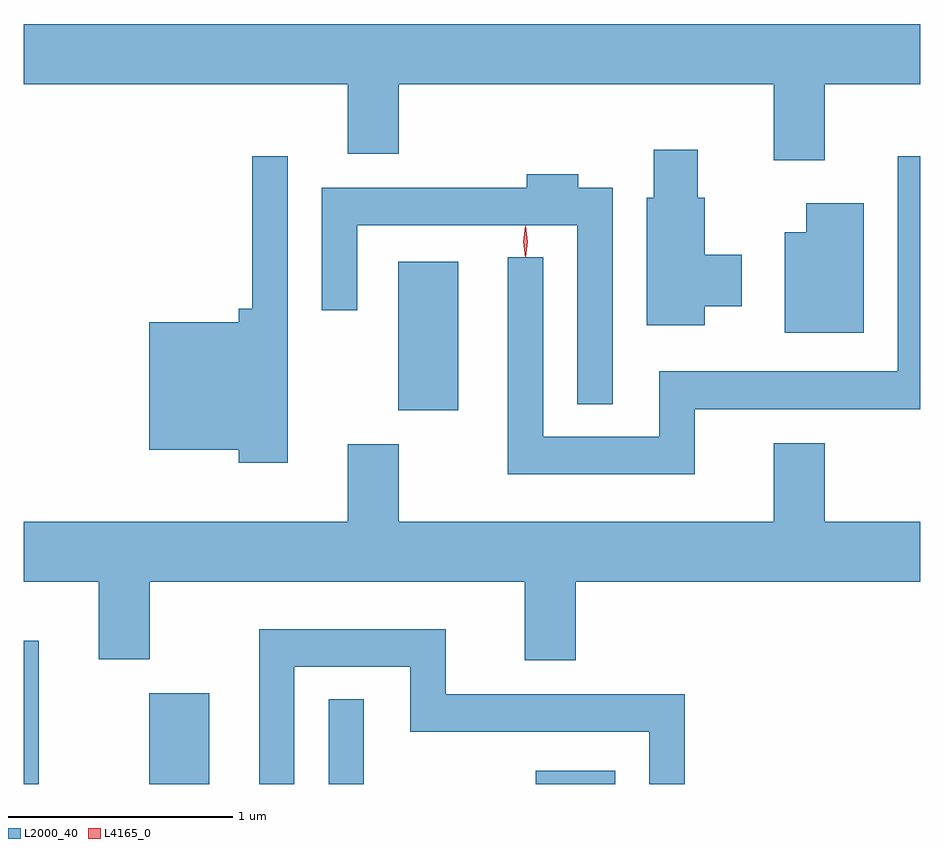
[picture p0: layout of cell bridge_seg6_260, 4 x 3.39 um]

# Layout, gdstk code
import gdstk
lib = gdstk.Library(unit=1e-6, precision=1e-09)
def R(c, l, rs):  # rectangles x0, y0, x1, y1
    for r in rs: c.add(gdstk.rectangle(r[:2], r[2:], *l))
def P(c, l, *ps):  # polygons
    for p in ps: c.add(gdstk.Polygon(p, *l))
L2000_40 = (2000, 40)
L4165_0 = (4165, 0)

bridge_seg6_260 = lib.new_cell('bridge_seg6_260')
R(bridge_seg6_260, L2000_40, [(1225.916,1584.654,1225.984,1585.294), (1226.476,1584.654,1226.744,1585.059), (1227.276,1584.654,1227.434,1585.033), (1228.201,1584.654,1228.554,1584.714), (1227.586,1586.321,1227.854,1586.984)])
P(bridge_seg6_260, L2000_40, [(1229.489,1587.776),(1229.916,1587.776),(1229.916,1588.044),(1225.916,1588.044),(1225.916,1587.776),(1227.361,1587.776),(1227.361,1587.466),(1227.589,1587.466),(1227.589,1587.776),(1229.261,1587.776),(1229.261,1587.436),(1229.489,1587.436)],
  [(1228.954,1586.786),(1229.119,1586.786),(1229.119,1587.014),(1228.954,1587.014),(1228.954,1587.269),(1228.924,1587.269),(1228.924,1587.484),(1228.726,1587.484),(1228.726,1587.269),(1228.696,1587.269),(1228.696,1586.701),(1228.954,1586.701)],
  [(1227.094,1587.453),(1226.936,1587.453),(1226.936,1586.774),(1226.876,1586.774),(1226.876,1586.714),(1226.476,1586.714),(1226.476,1586.146),(1226.876,1586.146),(1226.876,1586.086),(1227.094,1586.086)],
  [(1228.909,1586.326),(1229.916,1586.326),(1229.916,1587.453),(1229.816,1587.453),(1229.816,1586.494),(1228.751,1586.494),(1228.751,1586.204),(1228.234,1586.204),(1228.234,1587.003),(1228.076,1587.003),(1228.076,1586.036),(1228.909,1586.036)],
  [(1228.544,1587.314),(1228.389,1587.314),(1228.389,1587.374),(1228.161,1587.374),(1228.161,1587.314),(1227.246,1587.314),(1227.246,1586.768),(1227.404,1586.768),(1227.404,1587.146),(1228.386,1587.146),(1228.386,1586.348),(1228.544,1586.348)],
  [(1229.664,1587.244),(1229.406,1587.244),(1229.406,1587.114),(1229.311,1587.114),(1229.311,1586.666),(1229.664,1586.666)],
  [(1228.379,1585.556),(1229.916,1585.556),(1229.916,1585.824),(1229.489,1585.824),(1229.489,1586.174),(1229.261,1586.174),(1229.261,1585.824),(1227.589,1585.824),(1227.589,1586.169),(1227.361,1586.169),(1227.361,1585.824),(1225.916,1585.824),(1225.916,1585.556),(1226.251,1585.556),(1226.251,1585.211),(1226.479,1585.211),(1226.479,1585.556),(1228.151,1585.556),(1228.151,1585.206),(1228.379,1585.206)],
  [(1227.124,1585.176),(1227.641,1585.176),(1227.641,1584.886),(1228.706,1584.886),(1228.706,1584.654),(1228.864,1584.654),(1228.864,1585.054),(1227.799,1585.054),(1227.799,1585.344),(1226.966,1585.344),(1226.966,1584.654),(1227.124,1584.654)])
P(bridge_seg6_260, L4165_0, [(1228.155,1587.003),(1228.154,1587.004),(1228.145,1587.073),(1228.154,1587.142),(1228.155,1587.143),(1228.156,1587.142),(1228.165,1587.073),(1228.156,1587.004)])

lib.write_gds('bridge_seg6_260.gds')
